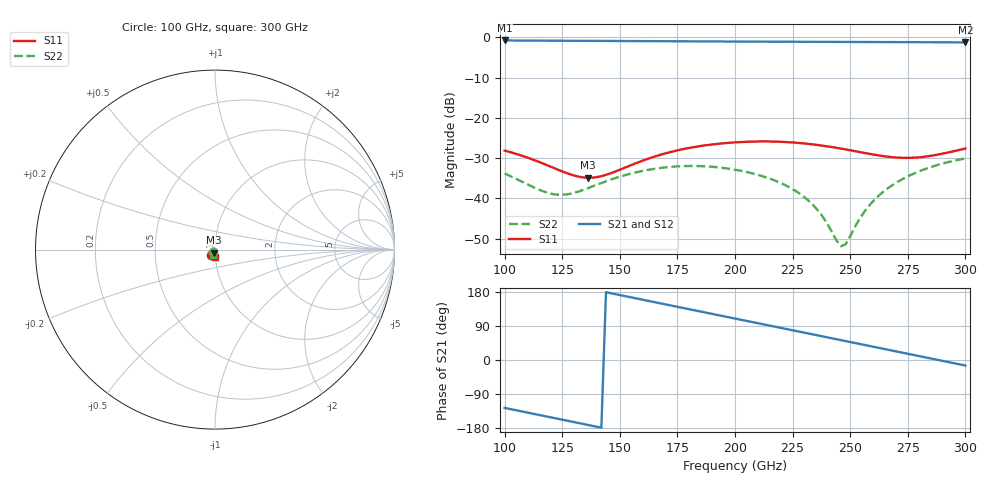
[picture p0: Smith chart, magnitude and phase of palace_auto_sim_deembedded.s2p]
! Created with skrf 1.11.0 (http://scikit-rf.org).
# GHz S DB R 50.0
!freq dBS11 angS11 dBS21 angS21 dBS12 angS12 dBS22 angS22
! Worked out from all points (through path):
!   101 points, 100 GHz to 300 GHz, reference 50 ohm
!   highest |S21| = -0.76 dB at 100 GHz (marker M1); lowest = -1.2 dB at 300 GHz (marker M2)
!   group delay of S21, straight-line fit = 3.45 ps
!   lowest |S11| = -34.9 dB at 136 GHz (marker M3), VSWR 1.04, Z = 49.4 - j1.7 ohm
!   |S11| at or under -10 dB: start of sweep to end of sweep
!   |S22| runs from -51.9 to -30.1 dB; largest |S21 - S12| = 1.5e-14
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100  -28.11 -124.7  -0.76 -126.4  -0.76 -126.4  -33.82 -128.7
120  -32.11 -130.0  -0.82 -151.3  -0.82 -151.3  -38.82 -118.2
126  -33.51 -125.1  -0.83 -158.7  -0.83 -158.7  -39.07 -107.0
134  -34.78 -111.5  -0.86 -168.7  -0.86 -168.7  -37.91 -95.8
136  -34.87 -107.2  -0.86 -171.2  -0.86 -171.2  -37.49 -94.3
142  -34.47 -94.7  -0.88 -178.6  -0.88 -178.6  -36.17 -93.0
152  -32.41 -81.9  -0.90 168.9  -0.90 168.9  -34.27 -97.7
168  -29.10 -80.8  -0.95 149.0  -0.95 149.0  -32.41 -114.4
184  -27.08 -88.8  -0.99 129.2  -0.99 129.2  -31.96 -135.7
200  -26.08 -98.6  -1.03 109.4  -1.03 109.4  -32.86 -158.6
210  -25.86 -104.9  -1.05 97.0  -1.05 97.0  -34.15 -173.3
220  -25.94 -110.9  -1.07 84.6  -1.07 84.6  -36.22 170.8
228  -26.24 -115.1  -1.09 74.7  -1.09 74.7  -38.80 156.3
234  -26.60 -117.7  -1.10 67.3  -1.10 67.3  -41.71 142.5
238  -26.90 -119.1  -1.11 62.3  -1.11 62.3  -44.47 129.7
246  -27.62 -120.6  -1.13 52.4  -1.13 52.4  -51.86 61.2
248  -27.83 -120.6  -1.13 49.9  -1.13 49.9  -51.38 29.7
254  -28.47 -119.9  -1.14 42.5  -1.14 42.5  -45.14 -21.4
258  -28.89 -118.5  -1.15 37.5  -1.15 37.5  -41.94 -36.0
268  -29.74 -111.8  -1.17 25.1  -1.17 25.1  -36.82 -59.1
282  -29.67 -97.9  -1.20 7.7  -1.20 7.7  -32.81 -83.9
300  -27.62 -87.3  -1.24 -14.6  -1.24 -14.6  -30.07 -113.3
